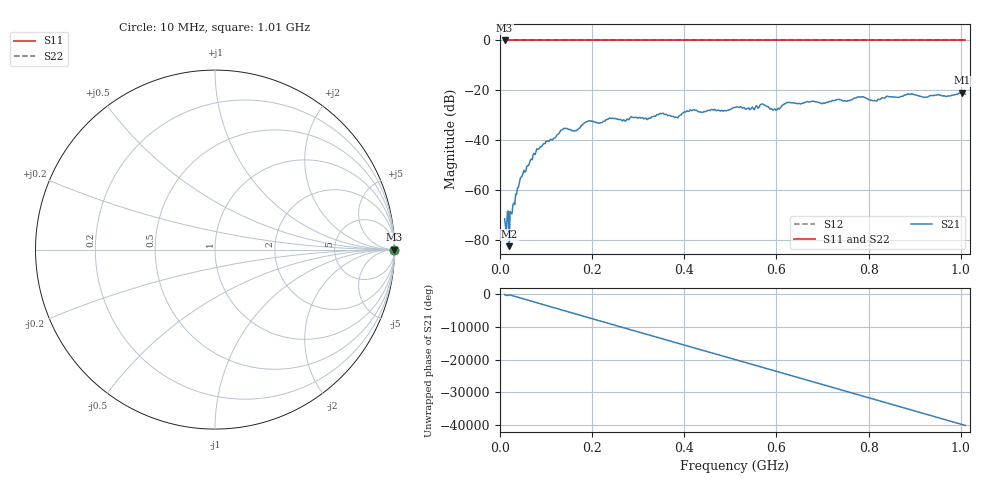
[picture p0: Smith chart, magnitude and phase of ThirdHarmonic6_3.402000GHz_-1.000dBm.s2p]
! 8/17/2025 10:52:14 AM
! C:\ANRITSUVNA\TEMP\TEMP.S2P
! CHANNEL.1
! TR.MEASUREMENT
! RAW.DATA
! RF.CORRECTION.OFF
! AVERAGING.OFF
! IF.BANDWIDTH: 5KHZ
! SWEEPTYPE:  FREQ.SWEEP(Linear)
! Reference Plane Port Info
! PORT:  PORT1  PORT2
! DISTANCE:  0  m  0  m
! TIME:  0  s  0  s
! PHASE.OFFSET:  0  deg.  0  deg.
! LOSS:  0  dB  0  dB
! REF.LOSS:  0  dB  0  dB
! REF.FREQ:  0  Hz  0  Hz
! Power Info
! POWER:  -20  dBm  -20  dBm
! EFF.POWER:  -20  dBm  -20  dBm
! SOURCE.ATTEN:  0  dB  0  dB
! TEST.ATTEN:  0  dB  0  dB
# GHZ S RI R 50.0
! FREQ.GHZ  S11RE  S11IM  S21RE  S21IM  S12RE  S12IM  S22RE  S22IM
!; PortSelection: Port_12
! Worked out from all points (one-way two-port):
!   501 points, 10 MHz to 1.01 GHz, reference 50 ohm
!   highest |S21| = -20.91 dB at 1.002 GHz (marker M1); lowest = -82.3 dB at 20 MHz (marker M2)
!   lowest |S11| = 0.0 dB at 10 MHz (marker M3)
!   |S11| at or under -10 dB: nowhere
!   |S22| runs from 0.0 to 0.0 dB; largest |S21 - S12| = 1.1
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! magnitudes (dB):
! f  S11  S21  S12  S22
! 10 MHz  0.0  -71.4  0.0  0.0
! 14 MHz  0.0  -75.9  0.0  0.0
! 16 MHz  0.0  -68.5  0.0  0.0
! 20 MHz  0.0  -82.3  0.0  0.0
! 24 MHz  0.0  -69.2  0.0  0.0
! 26 MHz  0.0  -69.4  0.0  0.0
! 48 MHz  0.0  -54.3  0.0  0.0
! 76 MHz  0.0  -45.7  0.0  0.0
! 136 MHz  0.0  -35.7  0.0  0.0
! 162 MHz  0.0  -36.2  0.0  0.0
! 178 MHz  0.0  -33.9  0.0  0.0
! 344 MHz  0.0  -29.7  0.0  0.0
! 382 MHz  0.0  -30.6  0.0  0.0
! 416 MHz  0.0  -28.1  0.0  0.0
! 510 MHz  0.0  -26.8  0.0  0.0
! 570 MHz  0.0  -25.4  0.0  0.0
! 596 MHz  0.0  -27.4  0.0  0.0
! 624 MHz  0.0  -24.8  0.0  0.0
! 678 MHz  0.0  -24.3  0.0  0.0
! 844 MHz  0.0  -22.5  0.0  0.0
! 1.002 GHz  0.0  -20.9  0.0  0.0
! 1.01 GHz  0.0  -21.5  0.0  0.0
